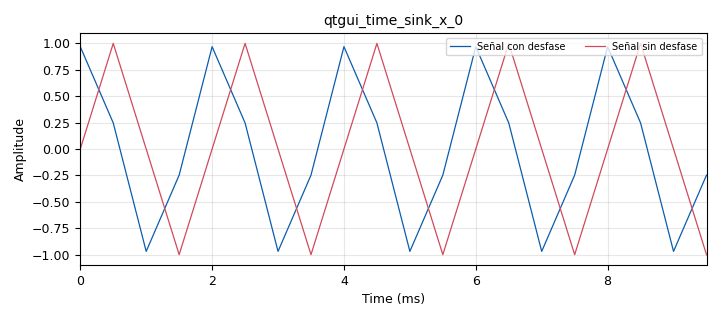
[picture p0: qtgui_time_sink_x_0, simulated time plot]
options:
  parameters:
    generate_options: qt_gui
    id: Actividad07
    output_language: python
    title: testx
  states: {}

blocks:
- name: aleatorio
  id: variable
  parameters:
    value: random.uniform(-((math.pi)/2),(math.pi)/2)
  states: {}
- name: samp_rate
  id: variable
  parameters:
    value: '2000'
  states: {}
- name: analog_sig_source_x_0
  id: analog_sig_source_x
  parameters:
    amp: '1'
    freq: '500'
    offset: '0'
    phase: aleatorio
    samp_rate: samp_rate
    type: float
    waveform: analog.GR_SIN_WAVE
  states: {}
- name: analog_sig_source_x_0_0
  id: analog_sig_source_x
  parameters:
    amp: '1'
    freq: '500'
    offset: '0'
    phase: '0'
    samp_rate: samp_rate
    type: float
    waveform: analog.GR_SIN_WAVE
  states: {}
- name: audio_sink_0
  id: audio_sink
  parameters:
    device_name: plughw:0,0
    samp_rate: samp_rate
  states: {}
- name: blocks_throttle_0
  id: blocks_throttle
  parameters:
    samples_per_second: samp_rate
    type: float
  states: {}
- name: blocks_throttle_0_0
  id: blocks_throttle
  parameters:
    samples_per_second: samp_rate
    type: float
  states: {}
- name: import_0
  id: import
  parameters:
    imports: import random
  states: {}
- name: import_1
  id: import
  parameters:
    imports: 'import math '
  states: {}
- name: qtgui_time_sink_x_0
  id: qtgui_time_sink_x
  parameters:
    autoscale: 'True'
    label1: Señal con desfase
    label2: Señal sin desfase
    nconnections: '2'
    size: '20'
    srate: samp_rate
    type: float
  states: {}

connections:
- [analog_sig_source_x_0, '0', blocks_throttle_0, '0']
- [analog_sig_source_x_0_0, '0', blocks_throttle_0_0, '0']
- [blocks_throttle_0, '0', audio_sink_0, '0']
- [blocks_throttle_0, '0', qtgui_time_sink_x_0, '0']
- [blocks_throttle_0_0, '0', qtgui_time_sink_x_0, '1']

metadata:
  file_format: 1
